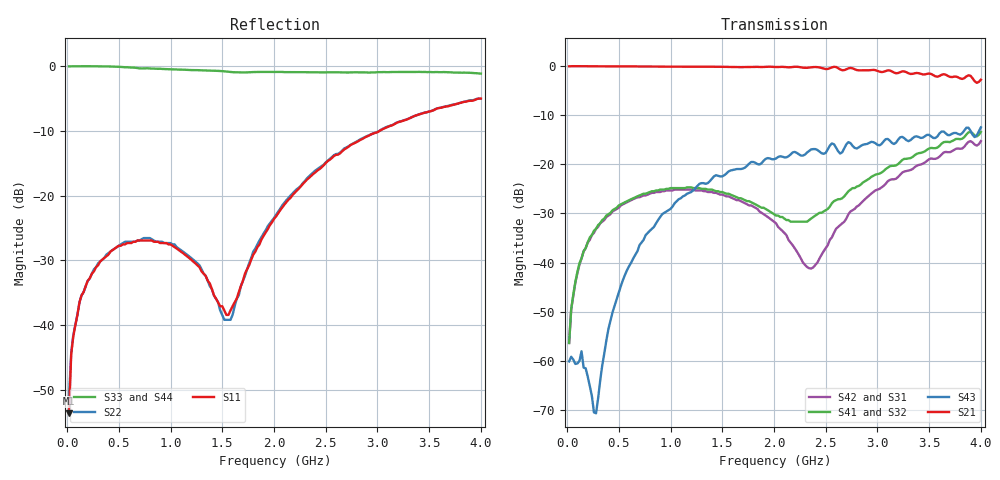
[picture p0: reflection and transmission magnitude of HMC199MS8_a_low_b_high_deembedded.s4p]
!Hittite Microwave Corporation
!12 Elizabeth Drive
!Chelmsford, MA 01824
!Tel: 978-250-3343
!Fax: 978-250-3373
!Device: HMC199MS8, DC-2.5GHz GaAs dual SPDT switch in 8 lead plastic surface mount Mini Small Outline Package
!Misc: Port 1 = RFC1, Port 2 = RFC2, Port 3 = RF2, Port 4 = RF1, CtlA low, CtlB high, Vctl=0/+5V
# MHZ S MA R 50
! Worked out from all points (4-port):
!   200 points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, 20 MHz to 4 GHz, reference 50 ohm
!   strongest paths, dB at 20 MHz, 1.02 GHz, 2.02 GHz, 3.02 GHz, 4 GHz:
!     S21: -0.1, -0.2, -0.3, -1.2, -2.9
!     S43: -60.1, -28.6, -18.9, -16.2, -12.5
!     S41: -56.3, -24.9, -30.5, -21.9, -13.5
!     S32: -56.2, -24.9, -30.5, -21.9, -13.5
!     S42: -56.4, -25.4, -32.0, -25.0, -15.3
!     S31: -56.4, -25.4, -32.4, -24.9, -15.3
!   lowest |S11| = -53.6 dB at 20 MHz (marker M1), VSWR 1.00, Z = 50.2 + j0.0054 ohm
!   |S11| at or under -10 dB: start of sweep to 3.024 GHz
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20  0.00209 1.5  0.983 0.2  0.001451 62.0  0.001529 65.0
    0.984 0.2  0.002873 -20.8  0.001499 63.3  0.001507 62.0
    0.001512 60.6  0.001547 63.1  0.993 -2.5  0.0009708 5.2
    0.001526 64.2  0.001521 62.4  0.00099 7.6  0.993 -2.4
120  0.015 68.0  0.986 -0.2  0.00966 80.6  0.009907 82.7
     0.986 -0.2  0.015 64.5  0.00989 82.3  0.009495 80.6
     0.00967 80.5  0.009858 82.4  0.994 -14.1  0.001009 16.0
     0.009838 82.8  0.009506 80.7  0.001003 20.1  0.994 -14.2
280  0.028 65.3  0.984 -0.1  0.022 74.1  0.022 78.2
     0.984 -0.2  0.028 62.7  0.022 78.4  0.022 74.2
     0.022 74.3  0.022 78.6  0.994 -32.9  0.0002156 -64.0
     0.022 78.4  0.022 74.3  0.000294 -65.3  0.994 -33.0
500  0.041 60.2  0.982 -0.1  0.036 64.2  0.037 71.5
     0.981 -0.2  0.041 58.2  0.037 71.8  0.036 64.5
     0.036 63.6  0.038 71.0  0.985 -58.5  0.004938 -150.7
     0.038 70.8  0.036 63.9  0.004947 -150.5  0.983 -58.7
1520  0.013 108.0  0.971 -0.1  0.046 19.7  0.05 48.6
      0.971 -0.2  0.011 96.5  0.049 49.4  0.047 19.7
      0.048 19.4  0.051 49.1  0.909 -157.0  0.078 146.7
      0.051 48.4  0.048 19.4  0.077 147.4  0.908 -157.9
2360  0.142 -178.3  0.96 -2.5  0.008771 -85.8  0.029 115.6
      0.96 -2.0  0.146 179.3  0.029 117.8  0.008973 -84.0
      0.008482 -86.1  0.028 117.8  0.894 153.5  0.137 122.8
      0.028 115.8  0.008687 -84.4  0.141 123.8  0.89 151.6
4000  0.56 139.0  0.729 -11.4  0.183 161.8  0.227 151.8
      0.719 -9.6  0.558 147.8  0.23 154.8  0.184 162.9
      0.172 163.6  0.212 156.2  0.873 104.1  0.233 106.1
      0.212 153.5  0.171 164.3  0.236 109.6  0.872 102.8
